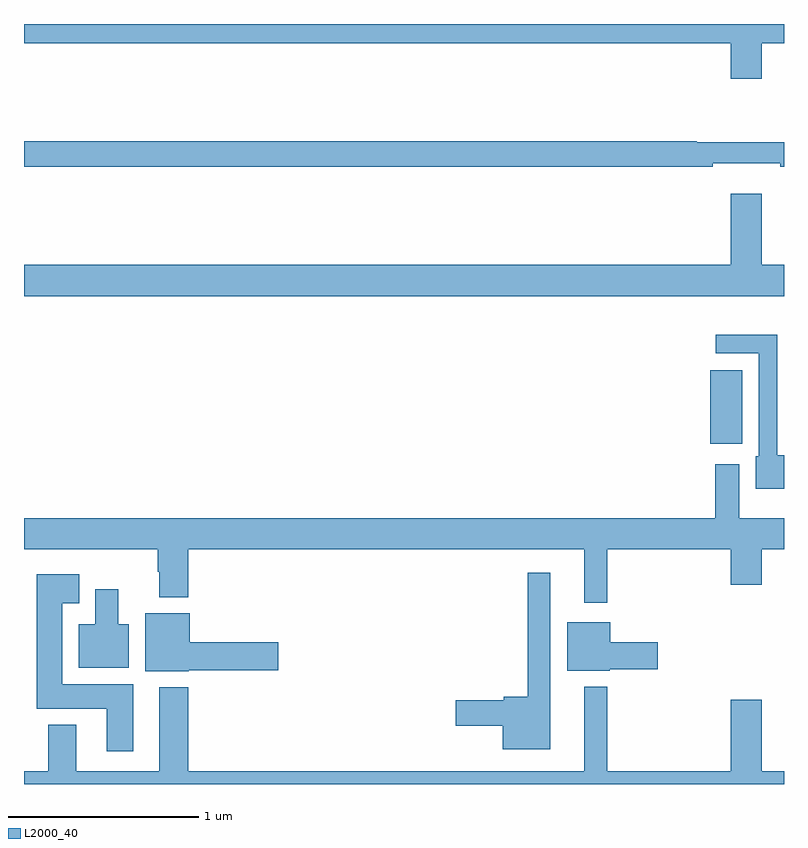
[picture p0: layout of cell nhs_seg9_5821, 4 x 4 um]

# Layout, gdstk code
import gdstk
lib = gdstk.Library(unit=1e-6, precision=1e-09)
def R(c, l, rs):  # rectangles x0, y0, x1, y1
    for r in rs: c.add(gdstk.rectangle(r[:2], r[2:], *l))
def P(c, l, *ps):  # polygons
    for p in ps: c.add(gdstk.Polygon(p, *l))
L2000_40 = (2000, 40)

nhs_seg9_5821 = lib.new_cell('nhs_seg9_5821')
R(nhs_seg9_5821, L2000_40, [(452.612,1214.291,452.779,1214.677)])
P(nhs_seg9_5821, L2000_40, [(452.884,1216.4),(453,1216.4),(453,1216.5),(449,1216.5),(449,1216.4),(452.72,1216.4),(452.72,1216.212),(452.884,1216.212)],
  [(452.624,1215.767),(452.98,1215.767),(452.98,1215.748),(453,1215.748),(453,1215.877),(452.542,1215.877),(452.542,1215.884),(449,1215.884),(449,1215.748),(452.624,1215.748)],
  [(453,1215.232),(452.884,1215.232),(452.884,1215.607),(452.72,1215.607),(452.72,1215.232),(449,1215.232),(449,1215.068),(453,1215.068)],
  [(453,1214.23),(452.964,1214.23),(452.964,1214.864),(452.64,1214.864),(452.64,1214.766),(452.868,1214.766),(452.868,1214.226),(452.852,1214.226),(452.852,1214.054),(453,1214.054)],
  [(452.071,1213.736),(452.72,1213.736),(452.72,1213.548),(452.884,1213.548),(452.884,1213.736),(453,1213.736),(453,1213.9),(452.764,1213.9),(452.764,1214.182),(452.639,1214.182),(452.639,1213.9),(449,1213.9),(449,1213.736),(449.704,1213.736),(449.704,1213.616),(449.711,1213.616),(449.711,1213.484),(449.864,1213.484),(449.864,1213.736),(451.949,1213.736),(451.949,1213.455),(452.071,1213.455)],
  [(451.771,1213.612),(451.65,1213.612),(451.65,1212.959),(451.524,1212.959),(451.524,1212.941),(451.272,1212.941),(451.272,1212.806),(451.52,1212.806),(451.52,1212.683),(451.771,1212.683)],
  [(449.575,1213.024),(449.2,1213.024),(449.2,1213.451),(449.29,1213.451),(449.29,1213.603),(449.066,1213.603),(449.066,1212.896),(449.435,1212.896),(449.435,1212.672),(449.575,1212.672)],
  [(449.551,1213.342),(449.497,1213.342),(449.497,1213.525),(449.375,1213.525),(449.375,1213.342),(449.288,1213.342),(449.288,1213.112),(449.551,1213.112)],
  [(449.868,1213.1),(450.337,1213.1),(450.337,1213.247),(449.872,1213.247),(449.872,1213.399),(449.639,1213.399),(449.639,1213.094),(449.868,1213.094)],
  [(452.082,1213.103),(452.335,1213.103),(452.335,1213.245),(452.086,1213.245),(452.086,1213.351),(451.859,1213.351),(451.859,1213.097),(452.082,1213.097)],
  [(453,1212.568),(452.884,1212.568),(452.884,1212.943),(452.72,1212.943),(452.72,1212.568),(452.071,1212.568),(452.071,1213.012),(451.949,1213.012),(451.949,1212.568),(449.864,1212.568),(449.864,1213.009),(449.711,1213.009),(449.711,1212.568),(449.275,1212.568),(449.275,1212.811),(449.128,1212.811),(449.128,1212.568),(449,1212.568),(449,1212.5),(453,1212.5)])

lib.write_gds('nhs_seg9_5821.gds')
